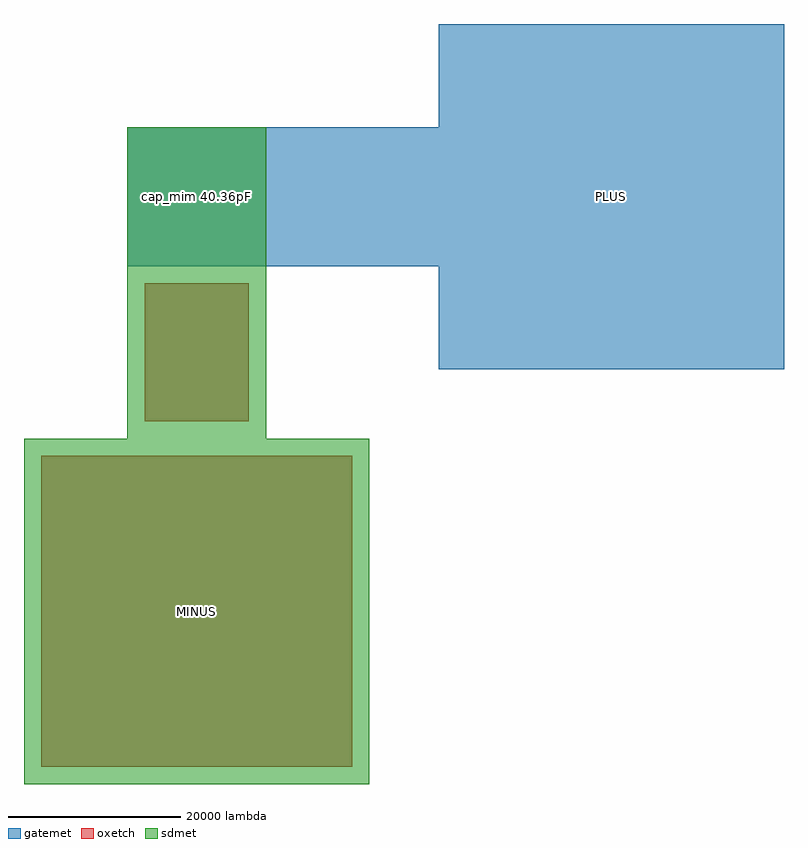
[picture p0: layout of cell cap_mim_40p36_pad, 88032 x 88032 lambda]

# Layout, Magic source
magic
tech igzo_mmm_lab
<< sdmet >>
rect -8032 -28032 8032 8032
rect -20000 -68032 20000 -28032
<< gatemet >>
rect 28032 8032 68032 20000
rect -8032 -8032 68032 8032
rect 28032 -20000 68032 -8032
<< oxetch >>
rect -6032 -26032 6032 -10032
rect -18000 -66032 18000 -30032
<< labels >>
rlabel sdmet s -402 -48434 402 -47630 4 MINUS
port 1 nsew
rlabel gatemet s 47630 -402 48434 402 4 PLUS
port 3 nsew
rlabel text s 0 0 0 0 4 cap_mim 40.36pF
<< end >>
